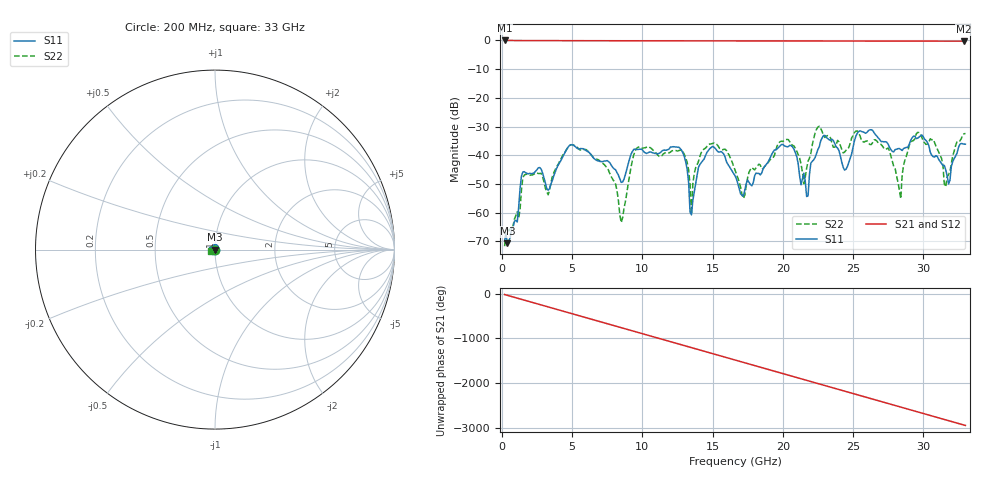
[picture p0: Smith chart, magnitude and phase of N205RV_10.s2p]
# GHZ S RI R 50
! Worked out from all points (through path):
!   329 points, 200 MHz to 33 GHz, reference 50 ohm
!   highest |S21| = -0.02 dB at 200 MHz (marker M1); lowest = -0.3 dB at 32.9 GHz (marker M2)
!   group delay of S21, straight-line fit = 248 ps
!   lowest |S11| = -70.6 dB at 400 MHz (marker M3), VSWR 1.00, Z = 50 + j0.00576 ohm
!   |S11| at or under -10 dB: start of sweep to end of sweep
!   |S22| runs from -71.7 to -29.9 dB; largest |S21 - S12| = 0.0019
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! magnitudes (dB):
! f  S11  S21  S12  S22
! 200 MHz  -69.7  0.0  0.0  -71.7
! 400 MHz  -70.6  0.0  0.0  -65.9
! 1.5 GHz  -45.8  -0.1  -0.1  -47.8
! 3.3 GHz  -52.2  -0.1  -0.1  -53.8
! 5.7 GHz  -37.7  -0.1  -0.1  -38.2
! 8.5 GHz  -49.4  -0.1  -0.1  -63.5
! 9.5 GHz  -37.9  -0.1  -0.1  -38.4
! 11.2 GHz  -39.3  -0.1  -0.1  -40.4
! 12.9 GHz  -39.3  -0.2  -0.2  -38.9
! 13.5 GHz  -60.7  -0.2  -0.2  -60.5
! 14.4 GHz  -41.3  -0.2  -0.2  -37.8
! 16.6 GHz  -47.1  -0.2  -0.2  -45.1
! 17.2 GHz  -54.3  -0.2  -0.2  -55.0
! 20.4 GHz  -37.0  -0.2  -0.2  -34.6
! 21.5 GHz  -46.2  -0.2  -0.2  -49.9
! 22.1 GHz  -42.1  -0.2  -0.2  -36.4
! 27.6 GHz  -37.2  -0.2  -0.2  -38.5
! 28.4 GHz  -38.0  -0.2  -0.2  -55.1
! 29.6 GHz  -34.1  -0.2  -0.2  -32.0
! 31.6 GHz  -45.1  -0.3  -0.3  -51.0
! 32.9 GHz  -36.1  -0.3  -0.3  -32.5
! 33 GHz  -36.2  -0.3  -0.3  -32.4
